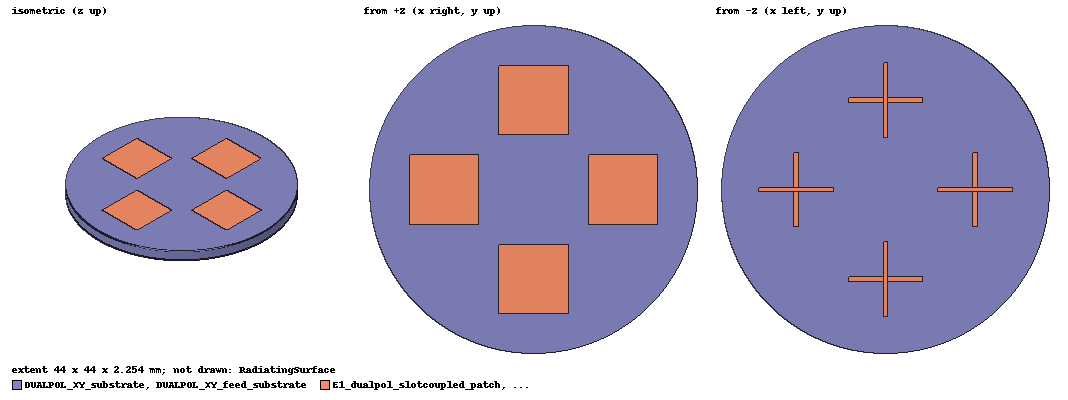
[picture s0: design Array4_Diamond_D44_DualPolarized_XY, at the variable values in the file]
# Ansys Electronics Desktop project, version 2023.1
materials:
  vacuum: permittivity=1
  RO4350B_custom_D44_Topology: permittivity=3.48 permeability=1 dielectric_loss_tangent=0.0037
  copper: permeability=0.999991 conductivity=58000000
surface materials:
  Steel-oxidised-surface

design Array4_Diamond_D44_DualPolarized_XY (HFSS, HFSS Modal Network, model units mm)
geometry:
  DUALPOL_XY_substrate [RO4350B_custom_D44_Topology] = cylinder(axis=Z, base_centre=(0mm, 0mm, 0mm), radius=22mm, height=2mm, segments=128)
  DUALPOL_XY_feed_substrate [RO4350B_custom_D44_Topology] = cylinder(axis=Z, base_centre=(0mm, 0mm, -0.254mm), radius=22mm, height=0.254mm, segments=128)
  DUALPOL_XY_bottom_ground [copper] = circle(normal=Z, centre=(0mm, 0mm, 0mm), radius=21.4mm, segments=128)
  ground_isolation_slot_1 = polyline(z=0mm, xy in mm: (2.4112341, 2.1142493) (9.4823019, 9.1853171) (9.1853171, 9.4823019) (2.1142493, 2.4112341) (2.4112341, 2.1142493), closed, covered)
  ground_isolation_slot_2 = polyline(z=0mm, xy in mm: (-2.1142493, 2.4112341) (-9.1853171, 9.4823019) (-9.4823019, 9.1853171) (-2.4112341, 2.1142493) (-2.1142493, 2.4112341), closed, covered)
  ground_isolation_slot_3 = polyline(z=0mm, xy in mm: (-2.4112341, -2.1142493) (-9.4823019, -9.1853171) (-9.1853171, -9.4823019) (-2.1142493, -2.4112341) (-2.4112341, -2.1142493), closed, covered)
  ground_isolation_slot_4 = polyline(z=0mm, xy in mm: (2.1142493, -2.4112341) (9.1853171, -9.4823019) (9.4823019, -9.1853171) (2.4112341, -2.1142493) (2.1142493, -2.4112341), closed, covered)
  E1_dualpol_slotcoupled_patch [copper] = polyline(z=2mm, xy in mm: (7.3458153, -4.675) (16.695815, -4.675) (16.695815, 4.675) (7.3458153, 4.675) (7.3458153, -4.675), closed, covered)
  E1_slotcoupled_a_aperture = polyline(z=0mm, xy in mm: (11.795815, -1.8) (12.245815, -1.8) (12.245815, 1.8) (11.795815, 1.8) (11.795815, -1.8), closed, covered)
  E1_slotcoupled_b_aperture = polyline(z=0mm, xy in mm: (10.220815, -0.225) (13.820815, -0.225) (13.820815, 0.225) (10.220815, 0.225) (10.220815, -0.225), closed, covered)
  E1_slotcoupled_a_underside_feedline [copper] = polyline(z=-0.254mm, xy in mm: (7.0208153, -0.3) (17.020815, -0.3) (17.020815, 0.3) (7.0208153, 0.3) (7.0208153, -0.3), closed, covered)
  E1_slotcoupled_b_underside_feedline [copper] = polyline(z=-0.254mm, xy in mm: (11.720815, -5) (12.320815, -5) (12.320815, 5) (11.720815, 5) (11.720815, -5), closed, covered)
  P1A_lumped_port_sheet = polyline(x=17.020815mm, yz in mm: (-0.25, -0.254) (0.25, -0.254) (0.25, 0) (-0.25, 0) (-0.25, -0.254), closed, covered)
  P1B_lumped_port_sheet = polyline(y=5mm, xz in mm: (11.770815, -0.254) (12.270815, -0.254) (12.270815, 0) (11.770815, 0) (11.770815, -0.254), closed, covered)
  E2_dualpol_slotcoupled_patch [copper] = polyline(z=2mm, xy in mm: (-4.675, 7.3458153) (4.675, 7.3458153) (4.675, 16.695815) (-4.675, 16.695815) (-4.675, 7.3458153), closed, covered)
  E2_slotcoupled_a_aperture = polyline(z=0mm, xy in mm: (-0.225, 10.220815) (0.225, 10.220815) (0.225, 13.820815) (-0.225, 13.820815) (-0.225, 10.220815), closed, covered)
  E2_slotcoupled_b_aperture = polyline(z=0mm, xy in mm: (-1.8, 11.795815) (1.8, 11.795815) (1.8, 12.245815) (-1.8, 12.245815) (-1.8, 11.795815), closed, covered)
  E2_slotcoupled_a_underside_feedline [copper] = polyline(z=-0.254mm, xy in mm: (-5, 11.720815) (5, 11.720815) (5, 12.320815) (-5, 12.320815) (-5, 11.720815), closed, covered)
  E2_slotcoupled_b_underside_feedline [copper] = polyline(z=-0.254mm, xy in mm: (-0.3, 7.0208153) (0.3, 7.0208153) (0.3, 17.020815) (-0.3, 17.020815) (-0.3, 7.0208153), closed, covered)
  P2A_lumped_port_sheet = polyline(x=5mm, yz in mm: (11.770815, -0.254) (12.270815, -0.254) (12.270815, 0) (11.770815, 0) (11.770815, -0.254), closed, covered)
  P2B_lumped_port_sheet = polyline(y=17.020815mm, xz in mm: (-0.25, -0.254) (0.25, -0.254) (0.25, 0) (-0.25, 0) (-0.25, -0.254), closed, covered)
  E3_dualpol_slotcoupled_patch [copper] = polyline(z=2mm, xy in mm: (-16.695815, -4.675) (-7.3458153, -4.675) (-7.3458153, 4.675) (-16.695815, 4.675) (-16.695815, -4.675), closed, covered)
  E3_slotcoupled_a_aperture = polyline(z=0mm, xy in mm: (-12.245815, -1.8) (-11.795815, -1.8) (-11.795815, 1.8) (-12.245815, 1.8) (-12.245815, -1.8), closed, covered)
  E3_slotcoupled_b_aperture = polyline(z=0mm, xy in mm: (-13.820815, -0.225) (-10.220815, -0.225) (-10.220815, 0.225) (-13.820815, 0.225) (-13.820815, -0.225), closed, covered)
  E3_slotcoupled_a_underside_feedline [copper] = polyline(z=-0.254mm, xy in mm: (-17.020815, -0.3) (-7.0208153, -0.3) (-7.0208153, 0.3) (-17.020815, 0.3) (-17.020815, -0.3), closed, covered)
  E3_slotcoupled_b_underside_feedline [copper] = polyline(z=-0.254mm, xy in mm: (-12.320815, -5) (-11.720815, -5) (-11.720815, 5) (-12.320815, 5) (-12.320815, -5), closed, covered)
  P3A_lumped_port_sheet = polyline(x=-17.020815mm, yz in mm: (-0.25, -0.254) (0.25, -0.254) (0.25, 0) (-0.25, 0) (-0.25, -0.254), closed, covered)
  P3B_lumped_port_sheet = polyline(y=5mm, xz in mm: (-12.270815, -0.254) (-11.770815, -0.254) (-11.770815, 0) (-12.270815, 0) (-12.270815, -0.254), closed, covered)
  E4_dualpol_slotcoupled_patch [copper] = polyline(z=2mm, xy in mm: (-4.675, -16.695815) (4.675, -16.695815) (4.675, -7.3458153) (-4.675, -7.3458153) (-4.675, -16.695815), closed, covered)
  E4_slotcoupled_a_aperture = polyline(z=0mm, xy in mm: (-0.225, -13.820815) (0.225, -13.820815) (0.225, -10.220815) (-0.225, -10.220815) (-0.225, -13.820815), closed, covered)
  E4_slotcoupled_b_aperture = polyline(z=0mm, xy in mm: (-1.8, -12.245815) (1.8, -12.245815) (1.8, -11.795815) (-1.8, -11.795815) (-1.8, -12.245815), closed, covered)
  E4_slotcoupled_a_underside_feedline [copper] = polyline(z=-0.254mm, xy in mm: (-5, -12.320815) (5, -12.320815) (5, -11.720815) (-5, -11.720815) (-5, -12.320815), closed, covered)
  E4_slotcoupled_b_underside_feedline [copper] = polyline(z=-0.254mm, xy in mm: (-0.3, -17.020815) (0.3, -17.020815) (0.3, -7.0208153) (-0.3, -7.0208153) (-0.3, -17.020815), closed, covered)
  P4A_lumped_port_sheet = polyline(x=5mm, yz in mm: (-12.270815, -0.254) (-11.770815, -0.254) (-11.770815, 0) (-12.270815, 0) (-12.270815, -0.254), closed, covered)
  P4B_lumped_port_sheet = polyline(y=-17.020815mm, xz in mm: (-0.25, -0.254) (0.25, -0.254) (0.25, 0) (-0.25, 0) (-0.25, -0.254), closed, covered)
  DUALPOL_XY_bottom_ground.subtract(ground_isolation_slot_1..ground_isolation_slot_4, E1_slotcoupled_a_aperture, E1_slotcoupled_b_aperture, E2_slotcoupled_a_aperture, E2_slotcoupled_b_aperture, E3_slotcoupled_a_aperture, E3_slotcoupled_b_aperture, E4_slotcoupled_a_aperture, E4_slotcoupled_b_aperture)
  RadiatingSurface [vacuum] = region(absolute_offset=14.285714mm on all sides)
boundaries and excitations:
  DUALPOL_XY_PEC_metallization: Perfect E Objects=[DUALPOL_XY_bottom_ground, E1_dualpol_slotcoupled_patch, E1_slotcoupled_a_underside_feedline, E1_slotcoupled_b_underside_feedline, E2_dualpol_slotcoupled_patch, E2_slotcoupled_a_underside_feedline, E2_slotcoupled_b_underside_feedline, E3_dualpol_slotcoupled_patch, E3_slotcoupled_a_underside_feedline, E3_slotcoupled_b_underside_feedline, E4_dualpol_slotcoupled_patch, E4_slotcoupled_a_underside_feedline, E4_slotcoupled_b_underside_feedline]
  Open1: Radiation Objects=RadiatingSurface
  P1A: Lumped Port Objects=P1A_lumped_port_sheet LumpedPortType=Modal Modes{Mode1{IntLine{(17.020815, 0, 0) -> (17.020815, 0, -0.254)} CharImp=Zpi RenormImp=50ohm}} Impedance=50ohm
  P1B: Lumped Port Objects=P1B_lumped_port_sheet LumpedPortType=Modal Modes{Mode1{IntLine{(12.020815, 5, 0) -> (12.020815, 5, -0.254)} CharImp=Zpi RenormImp=50ohm}} Impedance=50ohm
  P2A: Lumped Port Objects=P2A_lumped_port_sheet LumpedPortType=Modal Modes{Mode1{IntLine{(5, 12.020815, 0) -> (5, 12.020815, -0.254)} CharImp=Zpi RenormImp=50ohm}} Impedance=50ohm
  P2B: Lumped Port Objects=P2B_lumped_port_sheet LumpedPortType=Modal Modes{Mode1{IntLine{(0, 17.020815, 0) -> (0, 17.020815, -0.254)} CharImp=Zpi RenormImp=50ohm}} Impedance=50ohm
  P3A: Lumped Port Objects=P3A_lumped_port_sheet LumpedPortType=Modal Modes{Mode1{IntLine{(-17.020815, 0, 0) -> (-17.020815, 0, -0.254)} CharImp=Zpi RenormImp=50ohm}} Impedance=50ohm
  P3B: Lumped Port Objects=P3B_lumped_port_sheet LumpedPortType=Modal Modes{Mode1{IntLine{(-12.020815, 5, 0) -> (-12.020815, 5, -0.254)} CharImp=Zpi RenormImp=50ohm}} Impedance=50ohm
  P4A: Lumped Port Objects=P4A_lumped_port_sheet LumpedPortType=Modal Modes{Mode1{IntLine{(5, -12.020815, 0) -> (5, -12.020815, -0.254)} CharImp=Zpi RenormImp=50ohm}} Impedance=50ohm
  P4B: Lumped Port Objects=P4B_lumped_port_sheet LumpedPortType=Modal Modes{Mode1{IntLine{(0, -17.020815, 0) -> (0, -17.020815, -0.254)} CharImp=Zpi RenormImp=50ohm}} Impedance=50ohm
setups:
  Setup_CH9: HfssDriven Frequency=8GHz MaxDeltaS=0.05 MaximumPasses=4 MinimumPasses=1 MinimumConvergedPasses=1 PercentRefinement=30 BasisOrder=1 PortAccuracy=2 DrivenSolverType="Direct Solver"
    sweep Sweep_CH9: 7.738GHz to 8.233GHz, 3 points; Type=Discrete SaveFields SaveRadFields
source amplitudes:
  P1A:1: 1W 0deg
  P1B:1, P2A:1, P2B:1, P3A:1, P3B:1, P4A:1, P4B:1: 0W 0deg
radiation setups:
  3D: Infinite Sphere Theta=0deg..180deg step 2deg Phi=-180deg..180deg step 2deg
  Elevation: Infinite Sphere Theta=-180deg..180deg step 1deg Phi=0deg..90deg step 90deg
  Azimuth: Infinite Sphere Theta=90deg..90deg step 0deg Phi=-180deg..180deg step 1deg
  Upper_Hemisphere_5deg: Infinite Sphere Theta=0deg..360deg step 5deg Phi=0deg..90deg step 5deg
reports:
  DUALPOL_XY_S_Parameters: dB(S(P4B:1,P4B:1)), dB(S(P4A:1,P4A:1)), dB(S(P2A:1,P2A:1)), dB(S(P1A:1,P1A:1)), dB(S(P3B:1,P3B:1)), dB(S(P2B:1,P2B:1)), dB(S(P1B:1,P1B:1)), dB(S(P3A:1,P3A:1)), dB(S(P4B:1,P4A:1)), dB(S(P4B:1,P2A:1)), dB(S(P4B:1,P1A:1)), dB(S(P4B:1,P3B:1)), dB(S(P4B:1,P2B:1)), dB(S(P4B:1,P1B:1)), dB(S(P4B:1,P3A:1)), dB(S(P4A:1,P4B:1)), dB(S(P4A:1,P2A:1)), dB(S(P4A:1,P1A:1)), dB(S(P4A:1,P3B:1)), dB(S(P4A:1,P2B:1)), dB(S(P4A:1,P1B:1)), dB(S(P4A:1,P3A:1)), dB(S(P2A:1,P4B:1)), dB(S(P2A:1,P4A:1)), dB(S(P2A:1,P1A:1)), dB(S(P2A:1,P3B:1)), dB(S(P2A:1,P2B:1)), dB(S(P2A:1,P1B:1)), dB(S(P2A:1,P3A:1)), dB(S(P1A:1,P4B:1)), dB(S(P1A:1,P4A:1)), dB(S(P1A:1,P2A:1)), dB(S(P1A:1,P3B:1)), dB(S(P1A:1,P2B:1)), dB(S(P1A:1,P1B:1)), dB(S(P1A:1,P3A:1)), dB(S(P3B:1,P4B:1)), dB(S(P3B:1,P4A:1)), dB(S(P3B:1,P2A:1)), dB(S(P3B:1,P1A:1))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 vs Freq on Setup_CH9 : Sweep_CH9
  DUALPOL_XY_GainTotal_8GHz: dB(GainTotal) vs Phi, Theta on Setup_CH9 : Sweep_CH9, Upper_Hemisphere_5deg [Freq=8GHz]
  DUALPOL_XY_AxialRatio_8GHz: AxialRatioValue vs Phi, Theta on Setup_CH9 : Sweep_CH9, Upper_Hemisphere_5deg [Freq=8GHz]
